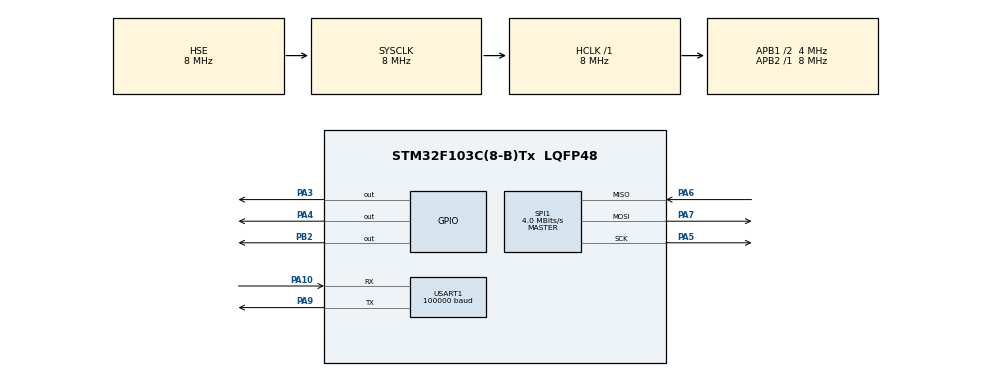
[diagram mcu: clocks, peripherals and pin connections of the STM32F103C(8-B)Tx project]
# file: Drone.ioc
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IWDG.Prescaler=IWDG_PRESCALER_8
IWDG.Reload=2499
Mcu.Family=STM32F1
Mcu.Name=STM32F103C(8-B)Tx
Mcu.Package=LQFP48
NVIC.PriorityGroup=NVIC_PRIORITYGROUP_4
PA10.Mode=Asynchronous
PA10.Signal=USART1_RX
PA13.Mode=Serial_Wire
PA13.Signal=SYS_JTMS-SWDIO
PA14.Mode=Serial_Wire
PA14.Signal=SYS_JTCK-SWCLK
PA3.Signal=GPIO_Output
PA4.Signal=GPIO_Output
PA5.Mode=Full_Duplex_Master
PA5.Signal=SPI1_SCK
PA6.Mode=Full_Duplex_Master
PA6.Signal=SPI1_MISO
PA7.Mode=Full_Duplex_Master
PA7.Signal=SPI1_MOSI
PA9.Mode=Asynchronous
PA9.Signal=USART1_TX
PB2.Signal=GPIO_Output
PD0-OSC_IN.Mode=HSE-External-Oscillator
PD0-OSC_IN.Signal=RCC_OSC_IN
PD1-OSC_OUT.Mode=HSE-External-Oscillator
PD1-OSC_OUT.Signal=RCC_OSC_OUT
ProjectManager.HeapSize=0x200
ProjectManager.StackSize=0x400
ProjectManager.TargetToolchain=MDK-ARM V5.32
RCC.AHBFreq_Value=8000000
RCC.APB1CLKDivider=RCC_HCLK_DIV2
RCC.APB1Freq_Value=4000000
RCC.APB1TimFreq_Value=8000000
RCC.APB2Freq_Value=8000000
RCC.APB2TimFreq_Value=8000000
RCC.HCLKFreq_Value=8000000
RCC.PLLSourceVirtual=RCC_PLLSOURCE_HSE
RCC.SYSCLKFreq_VALUE=8000000
RCC.SYSCLKSource=RCC_SYSCLKSOURCE_HSE
RCC.USBFreq_Value=16000000
SPI1.CalculateBaudRate=4.0 MBits/s
SPI1.Direction=SPI_DIRECTION_2LINES
SPI1.Mode=SPI_MODE_MASTER
SPI1.VirtualType=VM_MASTER
USART1.BaudRate=100000
USART1.Mode=MODE_TX
USART1.Parity=PARITY_EVEN
USART1.StopBits=STOPBITS_2
USART1.VirtualMode=VM_ASYNC
USART1.WordLength=WORDLENGTH_9B
VP_IWDG_VS_IWDG.Mode=IWDG_Activate
board=custom

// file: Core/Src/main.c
/* USER CODE BEGIN Header */
/**
  ******************************************************************************
  * @file           : main.c
  * @brief          : Main program body
  ******************************************************************************
  * @attention
  *
  * Copyright (c) 2026 STMicroelectronics.
  * All rights reserved.
  *
  * This software is licensed under terms that can be found in the LICENSE file
  * in the root directory of this software component.
  * If no LICENSE file comes with this software, it is provided AS-IS.
  *
  ******************************************************************************
  */
/* USER CODE END Header */
#include "main.h"

/* USER CODE BEGIN Includes */
#include "NRF.h"
/* USER CODE END Includes */

/* USER CODE BEGIN PM */
#define LINK_TIMEOUT_MS 100U
#define SBUS_TX_TIMEOUT_MS 100U
/* USER CODE END PM */

IWDG_HandleTypeDef hiwdg;

SPI_HandleTypeDef hspi1;

UART_HandleTypeDef huart1;

/* USER CODE BEGIN PV */
uint8_t RxAddress[5] = {0xEE,0xDD,0xCC,0xBB,0xAA};
uint8_t st = 0;
uint8_t RxData[11];
uint16_t controls_local[4] = {0,0,0,0};
uint8_t arm_local = 0;
uint16_t controls[4] = {0,0,0,0};
uint8_t arm = 0;
uint16_t sequence = 0;
uint16_t old_sequence = 0;
uint8_t have_sequence = 0;
uint32_t last_valid_packet_time = 0;
uint8_t link_ok = 0;
uint8_t rx_flush_pending = 0;
uint16_t channels[16];
uint8_t sbus_frame[25];
uint32_t last_sbus_time = 0;
uint8_t arm_history[20];
uint16_t throttle_history[20];
uint8_t history_count = 0;
uint32_t last_sbus_success_time = 0;

volatile uint32_t sbus_tx_ok = 0;
volatile uint32_t sbus_tx_errors = 0;
volatile HAL_StatusTypeDef sbus_tx_status = HAL_OK;
volatile uint32_t rx_accepted = 0;
volatile uint32_t rx_invalid = 0;
volatile uint32_t rx_old_or_duplicate = 0;
volatile uint32_t rx_spi_errors = 0;
volatile uint32_t link_loss_count = 0;

uint8_t rf;
uint8_t cfg;
/* USER CODE END PV */

void SystemClock_Config(void);
static void MX_GPIO_Init(void);
static void MX_SPI1_Init(void);
static void MX_USART1_UART_Init(void);
static void MX_IWDG_Init(void);
/* USER CODE BEGIN PFP */
void unpack_data(uint8_t RxData[], uint16_t controls[], uint8_t *arm, uint16_t *sequence);
uint8_t validate(uint16_t controls[], uint8_t arm);
uint8_t check_sequence(uint16_t sequence, uint16_t *old_sequence);
uint8_t arming(uint8_t arm_request, uint16_t throttle, uint8_t reset);
void pack_sbus(const uint16_t controls[], uint8_t arm, uint8_t frame[]);
/* USER CODE END PFP */

int main(void)
{

  /* MCU Configuration--------------------------------------------------------*/

  /* Reset of all peripherals, Initializes the Flash interface and the Systick. */
  HAL_Init();

  /* Configure the system clock */
  SystemClock_Config();

  /* Initialize all configured peripherals */
  MX_GPIO_Init();
  MX_SPI1_Init();
  MX_USART1_UART_Init();
  MX_IWDG_Init();
  /* USER CODE BEGIN 2 */
	HAL_GPIO_WritePin(GPIOA, GPIO_PIN_4, GPIO_PIN_SET);
	NRF24_Init();
	NRF24_RxMode(RxAddress, 76);

	HAL_Delay(100);  // Allow power-up to settle

  /* USER CODE END 2 */

  /* Infinite loop */
  while (1)
  {

    /* USER CODE BEGIN 3 */
		// Detect loss of valid, fresh radio packets.
    if (link_ok &&
        (uint32_t)(HAL_GetTick() - last_valid_packet_time) >= LINK_TIMEOUT_MS)
    {
				link_loss_count++;
        link_ok = 0;
        have_sequence = 0;
        arm = arming(0, 0, 1);  // Require OFF -> ON again.
				rx_flush_pending = 1;
    }

		if (rx_flush_pending)
		{
				if (NRF24_FlushRxChecked())
				{
						rx_flush_pending = 0;
				}
				else
				{
						rx_spi_errors++;
				}
		}

    // Process at most 3 packets per main-loop iteration.
    for (uint8_t count = 0; count < 3 && !rx_flush_pending; count++)
		{
				uint8_t fifo_status;

				if (nrf24_ReadRegChecked(FIFO_STATUS, &fifo_status) == 0)
				{
						rx_spi_errors++;
						break;
				}

				if (fifo_status & (1U << 0))
						break;

				if (NRF24_Receive(RxData) == 0)
				{
						rx_spi_errors++;
						break;
				}

				unpack_data(RxData, controls_local, &arm_local, &sequence);

				if (validate(controls_local, arm_local) == 0)
				{
						rx_invalid++;
						continue;
				}

				if (have_sequence == 0)
				{
						old_sequence = sequence;
						have_sequence = 1;
				}
				else if (check_sequence(sequence, &old_sequence) == 0)
				{
						rx_old_or_duplicate++;
						continue;
				}

				rx_accepted++;

				last_valid_packet_time = HAL_GetTick();
				link_ok = 1;

				for (uint8_t i = 0; i < 4; i++)
				{
						controls[i] = controls_local[i];
				}

				arm = arming(arm_local, controls_local[2], 0);
		}

    uint32_t now = HAL_GetTick();

    // Recheck freshness after processing, before sending SBUS.
    if (link_ok &&
        (uint32_t)(now - last_valid_packet_time) >= LINK_TIMEOUT_MS)
    {
        link_ok = 0;
        have_sequence = 0;
        arm = arming(0, 0, 1);
				rx_flush_pending = 1;
    }

    // Send SBUS every 10 ms while the radio link is valid.
		if (link_ok && (uint32_t)(now - last_sbus_time) >= 10U)
		{
				last_sbus_time = now;

				// Check BEFORE packing, so recovery cannot send ARM ON
				// after a prolonged gap in successful transmissions.
				if ((uint32_t)(HAL_GetTick() - last_sbus_success_time)
						>= SBUS_TX_TIMEOUT_MS)
				{
						arm = arming(0, 0, 1);
				}

				pack_sbus(controls, arm, sbus_frame);

				sbus_tx_status =
						HAL_UART_Transmit(&huart1, sbus_frame, 25, 5);

				if (sbus_tx_status == HAL_OK)
				{
						sbus_tx_ok++;
						last_sbus_success_time = HAL_GetTick();
				}
				else
				{
						sbus_tx_errors++;
				}
		}

    // Refresh after completing the main-loop work,
    // including when the RC is disconnected.
    HAL_IWDG_Refresh(&hiwdg);

    HAL_Delay(1);
  }
  /* USER CODE END 3 */
}

void SystemClock_Config(void)
{
  RCC_OscInitTypeDef RCC_OscInitStruct = {0};
  RCC_ClkInitTypeDef RCC_ClkInitStruct = {0};

  /** Initializes the RCC Oscillators according to the specified parameters
  * in the RCC_OscInitTypeDef structure.
  */
  RCC_OscInitStruct.OscillatorType = RCC_OSCILLATORTYPE_LSI|RCC_OSCILLATORTYPE_HSE;
  RCC_OscInitStruct.HSEState = RCC_HSE_ON;
  RCC_OscInitStruct.LSIState = RCC_LSI_ON;
  RCC_OscInitStruct.PLL.PLLState = RCC_PLL_NONE;
  if (HAL_RCC_OscConfig(&RCC_OscInitStruct) != HAL_OK)
  {
    Error_Handler();
  }

  /** Initializes the CPU, AHB and APB buses clocks
  */
  RCC_ClkInitStruct.ClockType = RCC_CLOCKTYPE_HCLK|RCC_CLOCKTYPE_SYSCLK
                              |RCC_CLOCKTYPE_PCLK1|RCC_CLOCKTYPE_PCLK2;
  RCC_ClkInitStruct.SYSCLKSource = RCC_SYSCLKSOURCE_HSE;
  RCC_ClkInitStruct.AHBCLKDivider = RCC_SYSCLK_DIV1;
  RCC_ClkInitStruct.APB1CLKDivider = RCC_HCLK_DIV2;
  RCC_ClkInitStruct.APB2CLKDivider = RCC_HCLK_DIV1;

  if (HAL_RCC_ClockConfig(&RCC_ClkInitStruct, FLASH_LATENCY_0) != HAL_OK)
  {
    Error_Handler();
  }
}

static void MX_IWDG_Init(void)
{

  hiwdg.Instance = IWDG;
  hiwdg.Init.Prescaler = IWDG_PRESCALER_8;
  hiwdg.Init.Reload = 2499;
  if (HAL_IWDG_Init(&hiwdg) != HAL_OK)
  {
    Error_Handler();
  }

}

static void MX_SPI1_Init(void)
{

  /* SPI1 parameter configuration*/
  hspi1.Instance = SPI1;
  hspi1.Init.Mode = SPI_MODE_MASTER;
  hspi1.Init.Direction = SPI_DIRECTION_2LINES;
  hspi1.Init.DataSize = SPI_DATASIZE_8BIT;
  hspi1.Init.CLKPolarity = SPI_POLARITY_LOW;
  hspi1.Init.CLKPhase = SPI_PHASE_1EDGE;
  hspi1.Init.NSS = SPI_NSS_SOFT;
  hspi1.Init.BaudRatePrescaler = SPI_BAUDRATEPRESCALER_2;
  hspi1.Init.FirstBit = SPI_FIRSTBIT_MSB;
  hspi1.Init.TIMode = SPI_TIMODE_DISABLE;
  hspi1.Init.CRCCalculation = SPI_CRCCALCULATION_DISABLE;
  hspi1.Init.CRCPolynomial = 10;
  if (HAL_SPI_Init(&hspi1) != HAL_OK)
  {
    Error_Handler();
  }

}

static void MX_USART1_UART_Init(void)
{

  huart1.Instance = USART1;
  huart1.Init.BaudRate = 100000;
  huart1.Init.WordLength = UART_WORDLENGTH_9B;
  huart1.Init.StopBits = UART_STOPBITS_2;
  huart1.Init.Parity = UART_PARITY_EVEN;
  huart1.Init.Mode = UART_MODE_TX;
  huart1.Init.HwFlowCtl = UART_HWCONTROL_NONE;
  huart1.Init.OverSampling = UART_OVERSAMPLING_16;
  if (HAL_UART_Init(&huart1) != HAL_OK)
  {
    Error_Handler();
  }

}

static void MX_GPIO_Init(void)
{
  GPIO_InitTypeDef GPIO_InitStruct = {0};

  /* GPIO Ports Clock Enable */
  __HAL_RCC_GPIOD_CLK_ENABLE();
  __HAL_RCC_GPIOA_CLK_ENABLE();
  __HAL_RCC_GPIOB_CLK_ENABLE();

  /*Configure GPIO pin Output Level */
  HAL_GPIO_WritePin(GPIOA, GPIO_PIN_3|GPIO_PIN_4, GPIO_PIN_RESET);

  /*Configure GPIO pin Output Level */
  HAL_GPIO_WritePin(GPIOB, GPIO_PIN_2, GPIO_PIN_RESET);

  /*Configure GPIO pins : PA3 PA4 */
  GPIO_InitStruct.Pin = GPIO_PIN_3|GPIO_PIN_4;
  GPIO_InitStruct.Mode = GPIO_MODE_OUTPUT_PP;
  GPIO_InitStruct.Pull = GPIO_NOPULL;
  GPIO_InitStruct.Speed = GPIO_SPEED_FREQ_LOW;
  HAL_GPIO_Init(GPIOA, &GPIO_InitStruct);

  /*Configure GPIO pin : PB2 */
  GPIO_InitStruct.Pin = GPIO_PIN_2;
  GPIO_InitStruct.Mode = GPIO_MODE_OUTPUT_PP;
  GPIO_InitStruct.Pull = GPIO_NOPULL;
  GPIO_InitStruct.Speed = GPIO_SPEED_FREQ_LOW;
  HAL_GPIO_Init(GPIOB, &GPIO_InitStruct);

}

/* USER CODE BEGIN 4 */
void unpack_data(uint8_t RxData[], uint16_t controls[], uint8_t *arm, uint16_t *sequence){
	controls[0] = RxData[0] | (RxData[1] << 8);
	controls[1] = RxData[2] | (RxData[3] << 8);
	controls[2] = RxData[4] | (RxData[5] << 8);
	controls[3] = RxData[6] | (RxData[7] << 8);
	*arm = RxData[8];
	*sequence = RxData[9] | (RxData[10] << 8);
}

uint8_t validate(uint16_t controls[], uint8_t arm){
	if (172 <= controls[0] && controls[0] <= 1811 &&
			172 <= controls[1] && controls[1] <= 1811 &&
			172 <= controls[2] && controls[2] <= 1811 &&
			172 <= controls[3] && controls[3] <= 1811 &&
			(arm == 0 || arm == 1)){
				return 1;
			}
			return 0;
}

uint8_t check_sequence(uint16_t sequence, uint16_t *old_sequence)
{
    uint16_t difference = (uint16_t)(sequence - *old_sequence);

    if (difference > 0 && difference < 32768U)
    {
        *old_sequence = sequence;
        return 1;
    }

    return 0;
}

uint8_t arming(uint8_t arm_request, uint16_t throttle, uint8_t reset)
{
    enum {
        WAIT_FOR_OFF,
        READY,
        ARM_ALLOWED
    };

    static uint8_t state = WAIT_FOR_OFF;

    if (reset)
    {
        state = WAIT_FOR_OFF;
        return 0;
    }

    switch (state)
    {
        case WAIT_FOR_OFF:
            if (arm_request == 0 && throttle < 200)
                state = READY;
            return 0;

        case READY:
            if (arm_request == 1)
            {
                if (throttle < 200)
                {
                    state = ARM_ALLOWED;
                    return 1;
                }

                // ON at high throttle: require OFF again.
                state = WAIT_FOR_OFF;
            }
            return 0;

        case ARM_ALLOWED:
            if (arm_request == 0)
            {
                state = (throttle < 200) ? READY : WAIT_FOR_OFF;
                return 0;
            }

            // Throttle may rise after arming is allowed.
            return 1;

        default:
            state = WAIT_FOR_OFF;
            return 0;
    }
}

void pack_sbus(const uint16_t controls[], uint8_t arm, uint8_t frame[])
{
    for (int i = 0; i < 25; i++)
        frame[i] = 0;

    frame[0] = 0x0F;

    for (int ch = 0; ch < 16; ch++)
    {
        uint16_t value;

        switch (ch)
        {
            case 0: value = controls[1]; break;  // Roll
            case 1: value = controls[0]; break;  // Pitch
            case 2: value = controls[2]; break;  // Throttle
            case 3: value = controls[3]; break;  // Yaw
            case 4: value = arm ? 1811 : 172; break;
            default: value = 172; break;
        }

        for (int b = 0; b < 11; b++)
        {
            if (value & (1U << b))
            {
                int bit = ch * 11 + b;

                frame[1 + bit / 8] |=
                    (uint8_t)(1U << (bit % 8));
            }
        }
    }

    frame[23] = 0x00;  // Flags
    frame[24] = 0x00;  // End byte
}
/* USER CODE END 4 */

void Error_Handler(void)
{
  __disable_irq();
  while (1)
  {
  }
}
